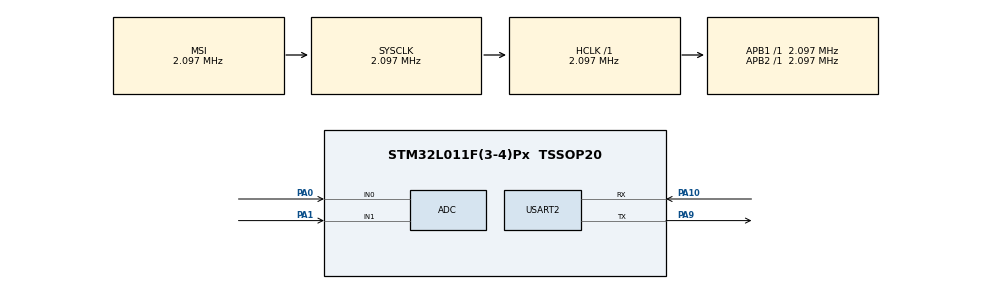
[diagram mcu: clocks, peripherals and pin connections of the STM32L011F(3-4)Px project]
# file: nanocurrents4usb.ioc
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Dma.ADC.0.Direction=DMA_PERIPH_TO_MEMORY
Dma.ADC.0.Instance=DMA1_Channel1
Dma.ADC.0.MemDataAlignment=DMA_MDATAALIGN_HALFWORD
Dma.ADC.0.MemInc=DMA_MINC_ENABLE
Dma.ADC.0.Mode=DMA_NORMAL
Dma.ADC.0.PeriphDataAlignment=DMA_PDATAALIGN_HALFWORD
Dma.ADC.0.PeriphInc=DMA_PINC_DISABLE
Dma.ADC.0.Priority=DMA_PRIORITY_HIGH
Dma.Request0=ADC
Mcu.Family=STM32L0
Mcu.Name=STM32L011F(3-4)Px
Mcu.Package=TSSOP20
NVIC.DMA1_Channel1_IRQn=true\:0\:0\:false\:false\:true\:false\:true\:true
NVIC.TIM21_IRQn=true\:0\:0\:false\:false\:true\:true\:true\:true
NVIC.USART2_IRQn=true\:0\:0\:false\:false\:true\:true\:true\:true
PA0-CK_IN.Mode=IN0
PA0-CK_IN.Signal=ADC_IN0
PA1.Mode=IN1
PA1.Signal=ADC_IN1
PA10.Mode=Asynchronous
PA10.Signal=USART2_RX
PA13.Mode=Serial_Wire
PA13.Signal=SYS_SWDIO
PA14.Mode=Serial_Wire
PA14.Signal=SYS_SWCLK
PA9.Mode=Asynchronous
PA9.Signal=USART2_TX
ProjectManager.HeapSize=0x200
ProjectManager.StackSize=0x400
ProjectManager.TargetToolchain=STM32CubeIDE
RCC.AHBFreq_Value=2097000
RCC.APB1Freq_Value=2097000
RCC.APB1TimFreq_Value=2097000
RCC.APB2Freq_Value=2097000
RCC.APB2TimFreq_Value=2097000
RCC.HSE_VALUE=8000000
RCC.HSI16_VALUE=16000000
RCC.HSI_VALUE=16000000
RCC.LSE_VALUE=32768
RCC.MSI_VALUE=2097000
RCC.SYSCLKFreq_VALUE=2097000
RCC.VCOOutputFreq_Value=48000000
TIM21.Period=49
TIM21.Prescaler=209
USART2.VirtualMode-Asynchronous=VM_ASYNC
VP_TIM21_VS_ClockSourceINT.Mode=Internal
board=custom

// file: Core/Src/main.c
/* USER CODE BEGIN Header */
/**
  ******************************************************************************
  * @file           : main.c
  * @brief          : Main program body
  ******************************************************************************
  * @attention
  *
  * Copyright (c) 2025 STMicroelectronics.
  * All rights reserved.
  *
  * This software is licensed under terms that can be found in the LICENSE file
  * in the root directory of this software component.
  * If no LICENSE file comes with this software, it is provided AS-IS.
  *
  ******************************************************************************
  */
/* USER CODE END Header */
#include "main.h"

/* USER CODE BEGIN PTD */
typedef enum
{
  ADC_5V_MONITOR,
  ADC_CURRENT_MONITOR,
  ADC_MAX_CHANNELS
}Adc_Channels_t;

typedef struct
{
  uint32_t m_u32voltage;
  uint32_t m_u32current;
} __attribute__((packed)) Comm_Frame_t;
/* USER CODE END PTD */

/* USER CODE BEGIN PD */
#define NB_BYTE_IN_32BITS (4u)
#define UART_SIZE_TO_TRANSMIT (NB_BYTE_IN_32BITS * 2u)
/* USER CODE END PD */

ADC_HandleTypeDef hadc;
DMA_HandleTypeDef hdma_adc;

TIM_HandleTypeDef htim21;

UART_HandleTypeDef huart2;

/* USER CODE BEGIN PV */
uint32_t g_u32AdcResults[ADC_MAX_CHANNELS];
Comm_Frame_t g_sFrame = { 0u, 0u };
/* USER CODE END PV */

void SystemClock_Config(void);
static void MX_GPIO_Init(void);
static void MX_DMA_Init(void);
static void MX_ADC_Init(void);
static void MX_USART2_UART_Init(void);
static void MX_TIM21_Init(void);
/* USER CODE BEGIN PFP */
void ADC_IsDone( DMA_HandleTypeDef * _hdma );
/* USER CODE END PFP */

int main(void)
{

  /* MCU Configuration--------------------------------------------------------*/

  /* Reset of all peripherals, Initializes the Flash interface and the Systick. */
  HAL_Init();

  /* Configure the system clock */
  SystemClock_Config();

  /* Initialize all configured peripherals */
  MX_GPIO_Init();
  MX_DMA_Init();
  MX_ADC_Init();
  MX_USART2_UART_Init();
  MX_TIM21_Init();
  /* USER CODE BEGIN 2 */

  // Attach callback to transfer complete DMA
  HAL_DMA_RegisterCallback(&hdma_adc, HAL_DMA_XFER_CPLT_CB_ID, ADC_IsDone);

  // Start timer
  HAL_TIM_Base_Start_IT(&htim21);

  /* USER CODE END 2 */

  /* Infinite loop */
  while (1)
  {

  }
}

void SystemClock_Config(void)
{
  RCC_OscInitTypeDef RCC_OscInitStruct = {0};
  RCC_ClkInitTypeDef RCC_ClkInitStruct = {0};
  RCC_PeriphCLKInitTypeDef PeriphClkInit = {0};

  /** Configure the main internal regulator output voltage
  */
  __HAL_PWR_VOLTAGESCALING_CONFIG(PWR_REGULATOR_VOLTAGE_SCALE1);

  /** Initializes the RCC Oscillators according to the specified parameters
  * in the RCC_OscInitTypeDef structure.
  */
  RCC_OscInitStruct.OscillatorType = RCC_OSCILLATORTYPE_MSI;
  RCC_OscInitStruct.MSIState = RCC_MSI_ON;
  RCC_OscInitStruct.MSICalibrationValue = 0;
  RCC_OscInitStruct.MSIClockRange = RCC_MSIRANGE_5;
  RCC_OscInitStruct.PLL.PLLState = RCC_PLL_NONE;
  if (HAL_RCC_OscConfig(&RCC_OscInitStruct) != HAL_OK)
  {
    Error_Handler();
  }

  /** Initializes the CPU, AHB and APB buses clocks
  */
  RCC_ClkInitStruct.ClockType = RCC_CLOCKTYPE_HCLK|RCC_CLOCKTYPE_SYSCLK
                              |RCC_CLOCKTYPE_PCLK1|RCC_CLOCKTYPE_PCLK2;
  RCC_ClkInitStruct.SYSCLKSource = RCC_SYSCLKSOURCE_MSI;
  RCC_ClkInitStruct.AHBCLKDivider = RCC_SYSCLK_DIV1;
  RCC_ClkInitStruct.APB1CLKDivider = RCC_HCLK_DIV1;
  RCC_ClkInitStruct.APB2CLKDivider = RCC_HCLK_DIV1;

  if (HAL_RCC_ClockConfig(&RCC_ClkInitStruct, FLASH_LATENCY_0) != HAL_OK)
  {
    Error_Handler();
  }
  PeriphClkInit.PeriphClockSelection = RCC_PERIPHCLK_USART2;
  PeriphClkInit.Usart2ClockSelection = RCC_USART2CLKSOURCE_PCLK1;
  if (HAL_RCCEx_PeriphCLKConfig(&PeriphClkInit) != HAL_OK)
  {
    Error_Handler();
  }
}

static void MX_ADC_Init(void)
{

  ADC_ChannelConfTypeDef sConfig = {0};

  /** Configure the global features of the ADC (Clock, Resolution, Data Alignment and number of conversion)
  */
  hadc.Instance = ADC1;
  hadc.Init.OversamplingMode = DISABLE;
  hadc.Init.ClockPrescaler = ADC_CLOCK_SYNC_PCLK_DIV1;
  hadc.Init.Resolution = ADC_RESOLUTION_12B;
  hadc.Init.SamplingTime = ADC_SAMPLETIME_1CYCLE_5;
  hadc.Init.ScanConvMode = ADC_SCAN_DIRECTION_FORWARD;
  hadc.Init.DataAlign = ADC_DATAALIGN_RIGHT;
  hadc.Init.ContinuousConvMode = DISABLE;
  hadc.Init.DiscontinuousConvMode = DISABLE;
  hadc.Init.ExternalTrigConvEdge = ADC_EXTERNALTRIGCONVEDGE_NONE;
  hadc.Init.ExternalTrigConv = ADC_SOFTWARE_START;
  hadc.Init.DMAContinuousRequests = DISABLE;
  hadc.Init.EOCSelection = ADC_EOC_SINGLE_CONV;
  hadc.Init.Overrun = ADC_OVR_DATA_PRESERVED;
  hadc.Init.LowPowerAutoWait = DISABLE;
  hadc.Init.LowPowerFrequencyMode = ENABLE;
  hadc.Init.LowPowerAutoPowerOff = DISABLE;
  if (HAL_ADC_Init(&hadc) != HAL_OK)
  {
    Error_Handler();
  }

  /** Configure for the selected ADC regular channel to be converted.
  */
  sConfig.Channel = ADC_CHANNEL_0;
  sConfig.Rank = ADC_RANK_CHANNEL_NUMBER;
  if (HAL_ADC_ConfigChannel(&hadc, &sConfig) != HAL_OK)
  {
    Error_Handler();
  }

  /** Configure for the selected ADC regular channel to be converted.
  */
  sConfig.Channel = ADC_CHANNEL_1;
  if (HAL_ADC_ConfigChannel(&hadc, &sConfig) != HAL_OK)
  {
    Error_Handler();
  }

}

static void MX_TIM21_Init(void)
{

  TIM_ClockConfigTypeDef sClockSourceConfig = {0};
  TIM_MasterConfigTypeDef sMasterConfig = {0};

  htim21.Instance = TIM21;
  htim21.Init.Prescaler = 209;
  htim21.Init.CounterMode = TIM_COUNTERMODE_UP;
  htim21.Init.Period = 49;
  htim21.Init.ClockDivision = TIM_CLOCKDIVISION_DIV1;
  htim21.Init.AutoReloadPreload = TIM_AUTORELOAD_PRELOAD_DISABLE;
  if (HAL_TIM_Base_Init(&htim21) != HAL_OK)
  {
    Error_Handler();
  }
  sClockSourceConfig.ClockSource = TIM_CLOCKSOURCE_INTERNAL;
  if (HAL_TIM_ConfigClockSource(&htim21, &sClockSourceConfig) != HAL_OK)
  {
    Error_Handler();
  }
  sMasterConfig.MasterOutputTrigger = TIM_TRGO_RESET;
  sMasterConfig.MasterSlaveMode = TIM_MASTERSLAVEMODE_DISABLE;
  if (HAL_TIMEx_MasterConfigSynchronization(&htim21, &sMasterConfig) != HAL_OK)
  {
    Error_Handler();
  }

}

static void MX_USART2_UART_Init(void)
{

  huart2.Instance = USART2;
  huart2.Init.BaudRate = 115200;
  huart2.Init.WordLength = UART_WORDLENGTH_8B;
  huart2.Init.StopBits = UART_STOPBITS_1;
  huart2.Init.Parity = UART_PARITY_NONE;
  huart2.Init.Mode = UART_MODE_TX_RX;
  huart2.Init.HwFlowCtl = UART_HWCONTROL_NONE;
  huart2.Init.OverSampling = UART_OVERSAMPLING_16;
  huart2.Init.OneBitSampling = UART_ONE_BIT_SAMPLE_DISABLE;
  huart2.AdvancedInit.AdvFeatureInit = UART_ADVFEATURE_NO_INIT;
  if (HAL_UART_Init(&huart2) != HAL_OK)
  {
    Error_Handler();
  }

}

static void MX_DMA_Init(void)
{

  /* DMA controller clock enable */
  __HAL_RCC_DMA1_CLK_ENABLE();

  /* DMA interrupt init */
  /* DMA1_Channel1_IRQn interrupt configuration */
  HAL_NVIC_SetPriority(DMA1_Channel1_IRQn, 0, 0);
  HAL_NVIC_EnableIRQ(DMA1_Channel1_IRQn);

}

static void MX_GPIO_Init(void)
{

  /* GPIO Ports Clock Enable */
  __HAL_RCC_GPIOA_CLK_ENABLE();

}

/* USER CODE BEGIN 4 */
void ADC_IsDone( DMA_HandleTypeDef * _hdma )
{
  g_sFrame.m_u32current = g_u32AdcResults[ADC_CURRENT_MONITOR];
  g_sFrame.m_u32voltage = g_u32AdcResults[ADC_5V_MONITOR];
  HAL_UART_Transmit_IT(&huart2, (uint8_t *)&g_sFrame, UART_SIZE_TO_TRANSMIT);
}

void HAL_TIM_PeriodElapsedCallback(TIM_HandleTypeDef *htim)
{
  // Start ADC acquisition
  if(HAL_ADC_Start_DMA(&hadc, (uint32_t*)&g_u32AdcResults, ADC_MAX_CHANNELS) != HAL_OK)
  {
    Error_Handler();  /* Error in starting ADC-DMA */
  }
}
/* USER CODE END 4 */

void Error_Handler(void)
{
  __disable_irq();
  while (1)
  {
  }
}
